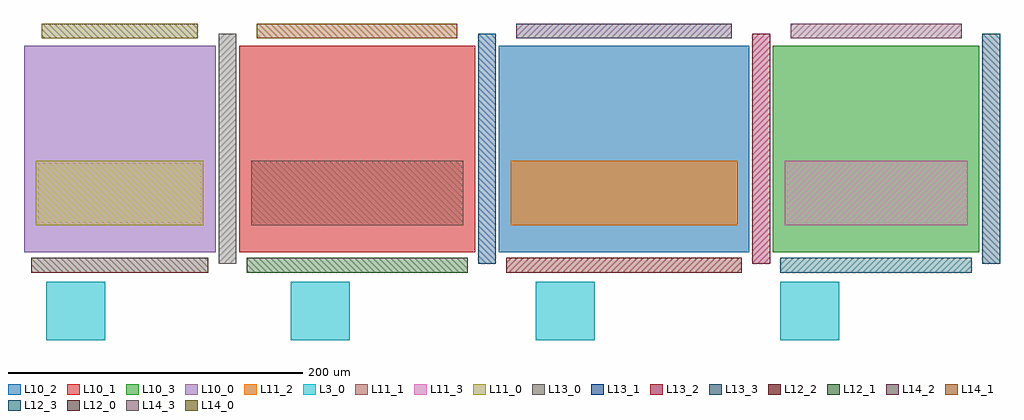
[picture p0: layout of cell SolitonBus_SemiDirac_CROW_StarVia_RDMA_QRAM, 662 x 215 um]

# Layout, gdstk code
import gdstk
lib = gdstk.Library(unit=1e-6, precision=1e-09)
def R(c, l, rs):  # rectangles x0, y0, x1, y1
    for r in rs: c.add(gdstk.rectangle(r[:2], r[2:], *l))
def A(c, l, x, y, w, h, nx, ny, dx, dy):  # array of equal rectangles
    R(c, l, [(x+i*dx, y+j*dy, x+i*dx+w, y+j*dy+h) for i in range(nx) for j in range(ny)])
L3_0 = (3, 0)
L10_0 = (10, 0)
L10_1 = (10, 1)
L10_2 = (10, 2)
L10_3 = (10, 3)
L11_0 = (11, 0)
L11_1 = (11, 1)
L11_2 = (11, 2)
L11_3 = (11, 3)
L12_0 = (12, 0)
L12_1 = (12, 1)
L12_2 = (12, 2)
L12_3 = (12, 3)
L13_0 = (13, 0)
L13_1 = (13, 1)
L13_2 = (13, 2)
L13_3 = (13, 3)
L14_0 = (14, 0)
L14_1 = (14, 1)
L14_2 = (14, 2)
L14_3 = (14, 3)

solitonbus_semidirac_cro = lib.new_cell('SolitonBus_SemiDirac_CROW_StarVia_RDMA_QRAM')
A(solitonbus_semidirac_cro, L3_0, 15, -60, 40, 40, 4, 1, 166, 0)
R(solitonbus_semidirac_cro, L10_0, [(0,0,130,140)])
R(solitonbus_semidirac_cro, L10_1, [(146,0,306,140)])
R(solitonbus_semidirac_cro, L10_2, [(322,0,492,140)])
R(solitonbus_semidirac_cro, L10_3, [(508,0,648,140)])
R(solitonbus_semidirac_cro, L11_0, [(8,18,122,62)])
R(solitonbus_semidirac_cro, L11_1, [(154,18,298,62)])
R(solitonbus_semidirac_cro, L11_2, [(330,18,484,62)])
R(solitonbus_semidirac_cro, L11_3, [(516,18,640,62)])
R(solitonbus_semidirac_cro, L12_0, [(5,-14,125,-4)])
R(solitonbus_semidirac_cro, L12_1, [(151,-14,301,-4)])
R(solitonbus_semidirac_cro, L12_2, [(327,-14,487,-4)])
R(solitonbus_semidirac_cro, L12_3, [(513,-14,643,-4)])
R(solitonbus_semidirac_cro, L13_0, [(132,-8,144,148)])
R(solitonbus_semidirac_cro, L13_1, [(308,-8,320,148)])
R(solitonbus_semidirac_cro, L13_2, [(494,-8,506,148)])
R(solitonbus_semidirac_cro, L13_3, [(650,-8,662,148)])
R(solitonbus_semidirac_cro, L14_0, [(12,145,118,155)])
R(solitonbus_semidirac_cro, L14_1, [(158,145,294,155)])
R(solitonbus_semidirac_cro, L14_2, [(334,145,480,155)])
R(solitonbus_semidirac_cro, L14_3, [(520,145,636,155)])

lib.write_gds('SolitonBus_SemiDirac_CROW_StarVia_RDMA_QRAM.gds')
